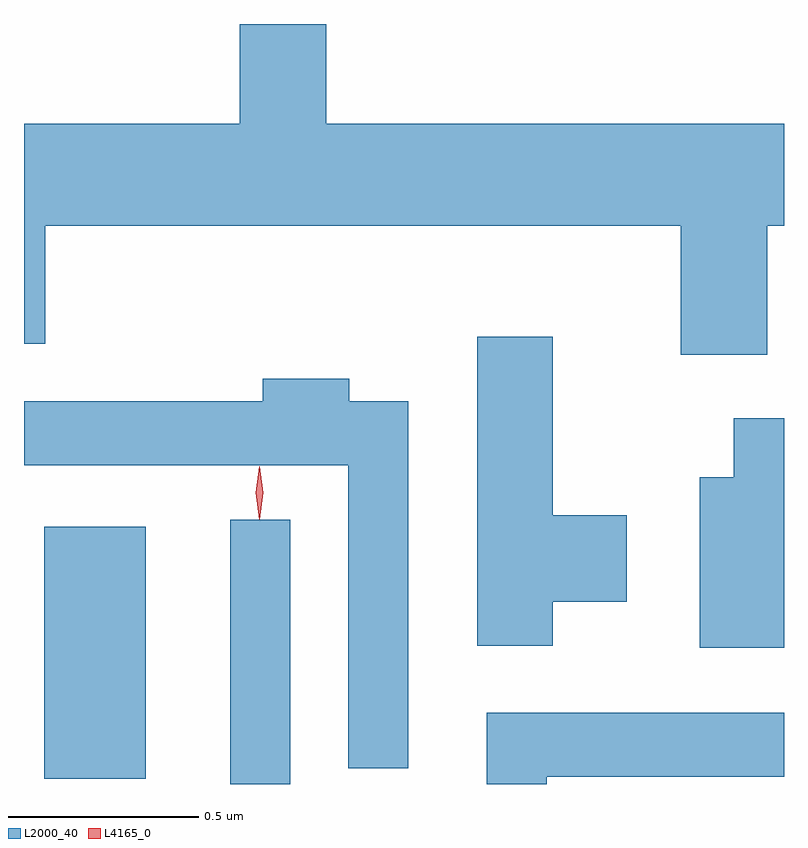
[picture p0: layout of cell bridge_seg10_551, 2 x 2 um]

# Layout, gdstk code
import gdstk
lib = gdstk.Library(unit=1e-6, precision=1e-09)
def R(c, l, rs):  # rectangles x0, y0, x1, y1
    for r in rs: c.add(gdstk.rectangle(r[:2], r[2:], *l))
def P(c, l, *ps):  # polygons
    for p in ps: c.add(gdstk.Polygon(p, *l))
L2000_40 = (2000, 40)
L4165_0 = (4165, 0)

bridge_seg10_551 = lib.new_cell('bridge_seg10_551')
R(bridge_seg10_551, L2000_40, [(764.466,2154.627,764.624,2155.323), (763.976,2154.641,764.244,2155.304)])
P(bridge_seg10_551, L2000_40, [(765.879,2156.096),(765.923,2156.096),(765.923,2156.364),(764.719,2156.364),(764.719,2156.627),(764.491,2156.627),(764.491,2156.364),(763.923,2156.364),(763.923,2155.786),(763.979,2155.786),(763.979,2156.096),(765.651,2156.096),(765.651,2155.756),(765.879,2155.756)],
  [(765.314,2155.106),(765.509,2155.106),(765.509,2155.334),(765.314,2155.334),(765.314,2155.804),(765.116,2155.804),(765.116,2154.991),(765.314,2154.991)],
  [(764.934,2155.634),(764.779,2155.634),(764.779,2155.694),(764.551,2155.694),(764.551,2155.634),(763.923,2155.634),(763.923,2155.466),(764.776,2155.466),(764.776,2154.668),(764.934,2154.668)],
  [(765.923,2155.589),(765.791,2155.589),(765.791,2155.434),(765.701,2155.434),(765.701,2154.986),(765.923,2154.986)],
  [(765.299,2154.646),(765.923,2154.646),(765.923,2154.814),(765.141,2154.814),(765.141,2154.627),(765.299,2154.627)])
P(bridge_seg10_551, L4165_0, [(764.543,2155.323),(764.542,2155.324),(764.533,2155.393),(764.542,2155.462),(764.543,2155.463),(764.543,2155.462),(764.553,2155.393),(764.543,2155.324)],
  [(764.543,2155.327),(764.543,2155.327),(764.533,2155.394),(764.542,2155.46),(764.543,2155.46),(764.543,2155.46),(764.553,2155.394),(764.544,2155.327)])

lib.write_gds('bridge_seg10_551.gds')
